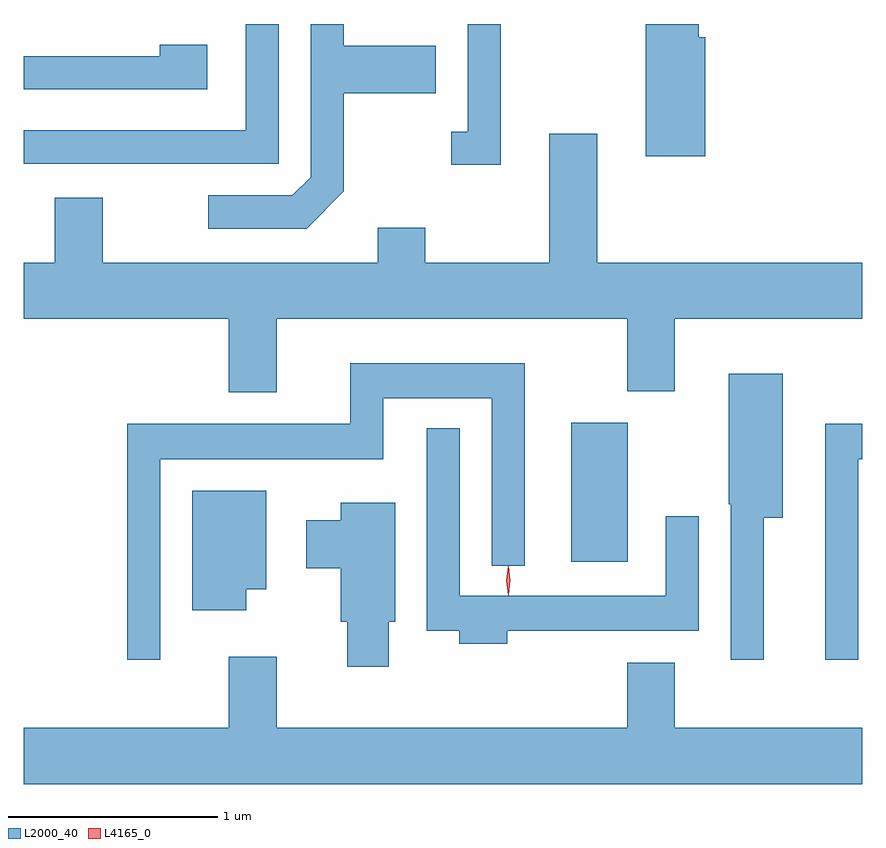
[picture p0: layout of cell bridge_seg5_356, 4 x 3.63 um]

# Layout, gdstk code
import gdstk
lib = gdstk.Library(unit=1e-6, precision=1e-09)
def R(c, l, rs):  # rectangles x0, y0, x1, y1
    for r in rs: c.add(gdstk.rectangle(r[:2], r[2:], *l))
def P(c, l, *ps):  # polygons
    for p in ps: c.add(gdstk.Polygon(p, *l))
L2000_40 = (2000, 40)
L4165_0 = (4165, 0)

bridge_seg5_356 = lib.new_cell('bridge_seg5_356')
R(bridge_seg5_356, L2000_40, [(530.126,1513.356,530.394,1514.019)])
P(bridge_seg5_356, L2000_40, [(529.039,1515.124),(529.039,1515.591),(529.479,1515.591),(529.479,1515.819),(529.039,1515.819),(529.039,1515.922),(528.881,1515.922),(528.881,1515.192),(528.794,1515.104),(528.393,1515.104),(528.393,1514.946),(528.862,1514.946)],
  [(529.789,1515.922),(529.631,1515.922),(529.631,1515.409),(529.553,1515.409),(529.553,1515.251),(529.789,1515.251)],
  [(528.729,1515.922),(528.571,1515.922),(528.571,1515.414),(527.513,1515.414),(527.513,1515.256),(528.729,1515.256)],
  [(530.764,1515.859),(530.734,1515.859),(530.734,1515.922),(530.481,1515.922),(530.481,1515.291),(530.764,1515.291)],
  [(528.389,1515.824),(528.161,1515.824),(528.161,1515.769),(527.513,1515.769),(527.513,1515.611),(528.389,1515.611)],
  [(528.719,1514.516),(530.391,1514.516),(530.391,1514.171),(530.619,1514.171),(530.619,1514.516),(531.513,1514.516),(531.513,1514.784),(530.249,1514.784),(530.249,1515.399),(530.021,1515.399),(530.021,1514.784),(529.429,1514.784),(529.429,1514.949),(529.201,1514.949),(529.201,1514.784),(527.889,1514.784),(527.889,1515.094),(527.661,1515.094),(527.661,1514.784),(527.513,1514.784),(527.513,1514.516),(528.491,1514.516),(528.491,1514.166),(528.719,1514.166)],
  [(528.164,1513.846),(529.229,1513.846),(529.229,1514.136),(529.746,1514.136),(529.746,1513.338),(529.904,1513.338),(529.904,1514.304),(529.071,1514.304),(529.071,1514.014),(528.006,1514.014),(528.006,1512.888),(528.164,1512.888)],
  [(531.044,1513.566),(531.134,1513.566),(531.134,1514.254),(530.876,1514.254),(530.876,1513.63),(530.886,1513.63),(530.886,1512.888),(531.044,1512.888)],
  [(531.494,1513.846),(531.513,1513.846),(531.513,1514.014),(531.336,1514.014),(531.336,1512.888),(531.494,1512.888)],
  [(529.819,1513.026),(530.734,1513.026),(530.734,1513.573),(530.576,1513.573),(530.576,1513.194),(529.594,1513.194),(529.594,1513.993),(529.436,1513.993),(529.436,1513.026),(529.591,1513.026),(529.591,1512.966),(529.819,1512.966)],
  [(528.574,1513.226),(528.669,1513.226),(528.669,1513.694),(528.316,1513.694),(528.316,1513.126),(528.574,1513.126)],
  [(529.254,1513.071),(529.284,1513.071),(529.284,1513.639),(529.026,1513.639),(529.026,1513.554),(528.861,1513.554),(528.861,1513.326),(529.026,1513.326),(529.026,1513.071),(529.056,1513.071),(529.056,1512.856),(529.254,1512.856)],
  [(531.513,1512.564),(530.619,1512.564),(530.619,1512.874),(530.391,1512.874),(530.391,1512.564),(528.719,1512.564),(528.719,1512.904),(528.491,1512.904),(528.491,1512.564),(527.513,1512.564),(527.513,1512.296),(531.513,1512.296)])
P(bridge_seg5_356, L4165_0, [(529.824,1513.199),(529.824,1513.2),(529.815,1513.266),(529.824,1513.332),(529.825,1513.333),(529.825,1513.332),(529.834,1513.266),(529.825,1513.2)],
  [(529.825,1513.197),(529.825,1513.197),(529.815,1513.267),(529.825,1513.336),(529.825,1513.336),(529.826,1513.336),(529.835,1513.267),(529.826,1513.197)])

lib.write_gds('bridge_seg5_356.gds')
